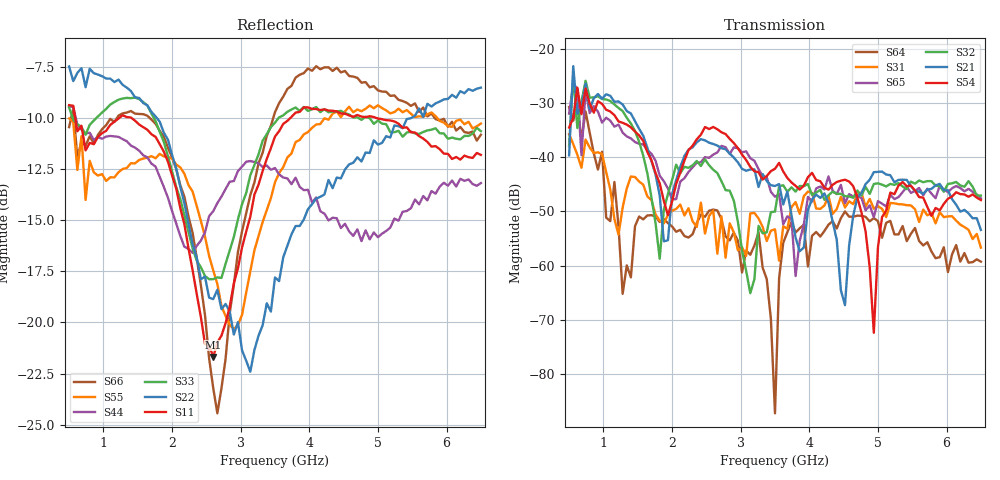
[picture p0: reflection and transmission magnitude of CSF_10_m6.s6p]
!Keysight Technologies,M9804A,MY58100912,A.14.10.03
!Date: Thursday, April 27, 2023 10:28:33
!Correction: S11(C  6-Port  )
!S12(C  6-Port  )
!S13(C  6-Port  )
!S14(C  6-Port  )
!S15(C  6-Port  )
!S16(C  6-Port  )
!S21(C  6-Port  )
!S22(C  6-Port  )
!S23(C  6-Port  )
!S24(C  6-Port  )
!S25(C  6-Port  )
!S26(C  6-Port  )
!S31(C  6-Port  )
!S32(C  6-Port  )
!S33(C  6-Port  )
!S34(C  6-Port  )
!S35(C  6-Port  )
!S36(C  6-Port  )
!S41(C  6-Port  )
!S42(C  6-Port  )
!S43(C  6-Port  )
!S44(C  6-Port  )
!S45(C  6-Port  )
!S46(C  6-Port  )
!S51(C  6-Port  )
!S52(C  6-Port  )
!S53(C  6-Port  )
!S54(C  6-Port  )
!S55(C  6-Port  )
!S56(C  6-Port  )
!S61(C  6-Port  )
!S62(C  6-Port  )
!S63(C  6-Port  )
!S64(C  6-Port  )
!S65(C  6-Port  )
!S66(C  6-Port  )
!S6P File: Measurement: :
# Hz S  RI  R 50
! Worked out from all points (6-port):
!   101 points, 500 MHz to 6.5 GHz, reference 50 ohm
!   strongest paths, dB at 500 MHz, 2 GHz, 3.5 GHz, 5 GHz, 6.5 GHz:
!     S54: -34.5, -48.2, -42.1, -56.6, -47.9
!     S21: -39.7, -46.8, -45.3, -42.7, -53.4
!     S32: -37.8, -44.2, -50.0, -44.8, -47.1
!     S65: -32.0, -47.8, -47.3, -48.1, -47.6
!     S31: -35.8, -49.9, -53.3, -49.0, -56.7
!     S64: -30.8, -52.8, -87.2, -51.8, -59.2
!   lowest |S11| = -21.7 dB at 2.6 GHz (marker M1), VSWR 1.18, Z = 42.7 + j2.09 ohm
!   |S11| at or under -10 dB: 588.2 MHz to 1.234 GHz (645.5 MHz wide, 70.9 % of centre); 1.405 GHz to 3.727 GHz (2.322 GHz wide, 90.5 % of centre); 4.969 GHz to end of sweep
